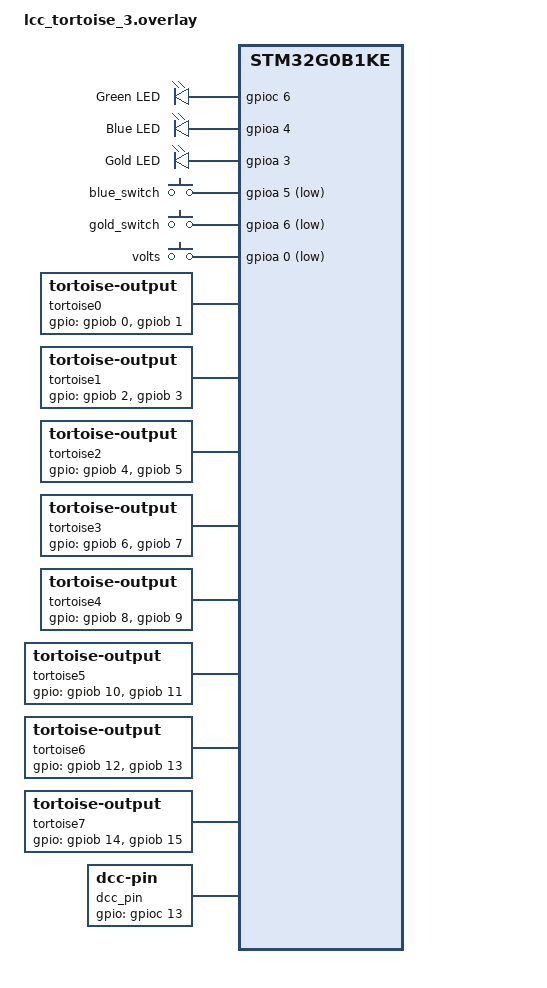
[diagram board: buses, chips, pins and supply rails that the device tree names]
#include <st/g0/stm32g0b1Xe.dtsi>
#include <st/g0/stm32g0b1k(b-c-e)tx-pinctrl.dtsi>
 
/ {
	compatible = "st,stm32g0b1ke-tortoise";

	leds: leds {
		compatible = "gpio-leds";
		green_led: led_g {
			gpios = <&gpioc 6 GPIO_ACTIVE_HIGH>;
			label = "Green LED";
		};
		blue_led: led_b {
			gpios = <&gpioa 4 GPIO_ACTIVE_HIGH>;
			label = "Blue LED";
		};
		gold_led: led_gl {
			gpios = <&gpioa 3 GPIO_ACTIVE_HIGH>;
			label = "Gold LED";
		};
	};

	gpio_keys {
		compatible = "gpio-keys";
		blue_switch: button_blue {
			label = "blue_switch";
			gpios = <&gpioa 5 (GPIO_ACTIVE_LOW | GPIO_PULL_UP)>;
		};
		gold_switch: button_gold {
			label = "gold_switch";
			gpios = <&gpioa 6 (GPIO_ACTIVE_LOW | GPIO_PULL_UP)>;
		};
		volts: volts_0 {
			label = "volts";
			gpios = <&gpioa 0 (GPIO_ACTIVE_LOW)>;
		};
	};

};

/ {
	tortoise0: tort0 {
		compatible = "tortoise-output";
		gpios = <&gpiob 0 GPIO_ACTIVE_HIGH>,
		        <&gpiob 1 GPIO_ACTIVE_HIGH>;
		status = "okay";
        };
	tortoise1: tort1 {
		compatible = "tortoise-output";
		gpios = <&gpiob 2 GPIO_ACTIVE_HIGH>,
		        <&gpiob 3 GPIO_ACTIVE_HIGH>;
		status = "okay";
        };
	tortoise2: tort2 {
		compatible = "tortoise-output";
		gpios = <&gpiob 4 GPIO_ACTIVE_HIGH>,
		        <&gpiob 5 GPIO_ACTIVE_HIGH>;
		status = "okay";
        };
	tortoise3: tort3 {
		compatible = "tortoise-output";
		gpios = <&gpiob 6 GPIO_ACTIVE_HIGH>,
		        <&gpiob 7 GPIO_ACTIVE_HIGH>;
		status = "okay";
        };
	tortoise4: tort4 {
		compatible = "tortoise-output";
		gpios = <&gpiob 8 GPIO_ACTIVE_HIGH>,
		        <&gpiob 9 GPIO_ACTIVE_HIGH>;
		status = "okay";
        };
	tortoise5: tort5 {
		compatible = "tortoise-output";
		gpios = <&gpiob 10 GPIO_ACTIVE_HIGH>,
		        <&gpiob 11 GPIO_ACTIVE_HIGH>;
		status = "okay";
        };
	tortoise6: tort6 {
		compatible = "tortoise-output";
		gpios = <&gpiob 12 GPIO_ACTIVE_HIGH>,
		        <&gpiob 13 GPIO_ACTIVE_HIGH>;
		status = "okay";
        };
	tortoise7: tort7 {
		compatible = "tortoise-output";
		gpios = <&gpiob 14 GPIO_ACTIVE_HIGH>,
		        <&gpiob 15 GPIO_ACTIVE_HIGH>;
		status = "okay";
        };

	dcc_pin: dcc_pin {
		compatible = "dcc-pin";
		gpios = <&gpioc 13 GPIO_ACTIVE_HIGH>;
		status = "okay";
	};
};

&flash0 {
	partitions {
		compatible = "fixed-partitions";
		#address-cells = <1>;
		#size-cells = <1>;

//		main_partition: partition@0 {
//			label = "main";
//			reg = <0x00000000 DT_SIZE_K(128)>;
////			read-only;
//		};

		boot_partition: partition@0 {
			label = "bootloader";
			reg = <0x00000000 DT_SIZE_K(32)>;
			read-only;
		};
		slot0_partition: partition@3000 {
			label = "image-0";
			reg = <0x00003000 DT_SIZE_K(56)>;
		};
		slot1_partition: partition@11000 {
			label = "image-1";
			reg = <0x00011000 DT_SIZE_K(56)>;
		};
		/* final 4k reserved for app storage partition */
		storage_partition: partition@1F000 {
			label = "storage";
			reg = <0x0001F000 DT_SIZE_K(4)>;
		};
	};
};


